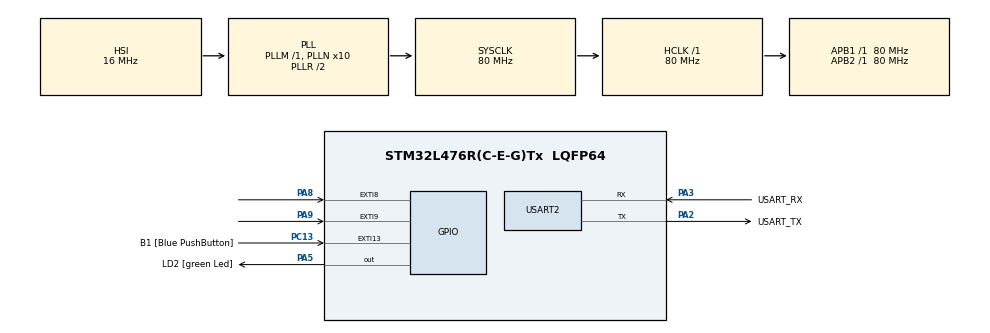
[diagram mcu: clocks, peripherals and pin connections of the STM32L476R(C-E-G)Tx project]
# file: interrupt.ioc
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Mcu.Family=STM32L4
Mcu.Name=STM32L476R(C-E-G)Tx
Mcu.Package=LQFP64
NVIC.EXTI15_10_IRQn=true\:0\:0\:false\:false\:true\:true\:true
NVIC.EXTI9_5_IRQn=true\:0\:0\:false\:false\:true\:true\:true
NVIC.FLASH_IRQn=true\:0\:0\:false\:false\:true\:true\:true
NVIC.FPU_IRQn=true\:0\:0\:false\:false\:true\:true\:false
NVIC.PVD_PVM_IRQn=true\:0\:0\:false\:false\:true\:true\:true
NVIC.PriorityGroup=NVIC_PRIORITYGROUP_4
NVIC.RCC_IRQn=true\:0\:0\:false\:false\:true\:true\:false
NVIC.USART2_IRQn=true\:0\:0\:false\:false\:true\:true\:true
PA13\ (JTMS-SWDIO).GPIO_Label=TMS
PA13\ (JTMS-SWDIO).Mode=Serial_Wire
PA13\ (JTMS-SWDIO).Signal=SYS_JTMS-SWDIO
PA14\ (JTCK-SWCLK).GPIO_Label=TCK
PA14\ (JTCK-SWCLK).Mode=Serial_Wire
PA14\ (JTCK-SWCLK).Signal=SYS_JTCK-SWCLK
PA2.GPIO_Label=USART_TX
PA2.GPIO_Mode=GPIO_MODE_AF_PP
PA2.GPIO_PuPd=GPIO_NOPULL
PA2.GPIO_Speed=GPIO_SPEED_FREQ_VERY_HIGH
PA2.Mode=Asynchronous
PA2.Signal=USART2_TX
PA3.GPIO_Label=USART_RX
PA3.GPIO_Mode=GPIO_MODE_AF_PP
PA3.GPIO_PuPd=GPIO_NOPULL
PA3.GPIO_Speed=GPIO_SPEED_FREQ_VERY_HIGH
PA3.Mode=Asynchronous
PA3.Signal=USART2_RX
PA5.GPIO_Label=LD2 [green Led]
PA5.GPIO_ModeDefaultOutputPP=GPIO_MODE_OUTPUT_PP
PA5.GPIO_PuPd=GPIO_NOPULL
PA5.GPIO_Speed=GPIO_SPEED_FREQ_LOW
PA5.Signal=GPIO_Output
PA8.GPIO_ModeDefaultEXTI=GPIO_MODE_IT_FALLING
PA8.GPIO_PuPd=GPIO_PULLUP
PA8.Signal=GPXTI8
PA9.GPIO_ModeDefaultEXTI=GPIO_MODE_IT_FALLING
PA9.GPIO_PuPd=GPIO_PULLUP
PA9.Signal=GPXTI9
PB3\ (JTDO-TRACESWO).GPIO_Label=SWO
PB3\ (JTDO-TRACESWO).Signal=SYS_JTDO-SWO
PC13.GPIO_Label=B1 [Blue PushButton]
PC13.GPIO_ModeDefaultEXTI=GPIO_MODE_IT_FALLING
PC13.GPIO_PuPd=GPIO_NOPULL
PC13.Signal=GPXTI13
PC14-OSC32_IN\ (PC14).Mode=LSE-External-Oscillator
PC14-OSC32_IN\ (PC14).Signal=RCC_OSC32_IN
PC15-OSC32_OUT\ (PC15).Mode=LSE-External-Oscillator
PC15-OSC32_OUT\ (PC15).Signal=RCC_OSC32_OUT
PH0-OSC_IN\ (PH0).Signal=RCC_OSC_IN
PH1-OSC_OUT\ (PH1).Signal=RCC_OSC_OUT
ProjectManager.HeapSize=0x200
ProjectManager.StackSize=0x400
ProjectManager.TargetToolchain=STM32CubeIDE
RCC.ADCFreq_Value=64000000
RCC.AHBFreq_Value=80000000
RCC.APB1Freq_Value=80000000
RCC.APB1TimFreq_Value=80000000
RCC.APB2Freq_Value=80000000
RCC.APB2TimFreq_Value=80000000
RCC.CortexFreq_Value=80000000
RCC.HCLKFreq_Value=80000000
RCC.HSE_VALUE=8000000
RCC.HSI_VALUE=16000000
RCC.MSI_VALUE=4000000
RCC.PLLN=10
RCC.PLLSourceVirtual=RCC_PLLSOURCE_HSI
RCC.PREFETCH_ENABLE=1
RCC.SYSCLKFreq_VALUE=80000000
RCC.SYSCLKSource=RCC_SYSCLKSOURCE_PLLCLK
RCC.USBFreq_Value=64000000
RCC.VCOOutputFreq_Value=160000000
USART2.VirtualMode-Asynchronous=VM_ASYNC
board=NUCLEO-L476RG

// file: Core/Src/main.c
/* USER CODE BEGIN Header */
/**
  ******************************************************************************
  * @file           : main.c
  * @brief          : Main program body
  ******************************************************************************
  * @attention
  *
  * Copyright (c) 2022 STMicroelectronics.
  * All rights reserved.
  *
  * This software is licensed under terms that can be found in the LICENSE file
  * in the root directory of this software component.
  * If no LICENSE file comes with this software, it is provided AS-IS.
  *
  ******************************************************************************
  */
/* USER CODE END Header */
#include "main.h"
#include "usart.h"
#include "gpio.h"

void SystemClock_Config(void);

int main(void)
{

  /* MCU Configuration--------------------------------------------------------*/

  /* Reset of all peripherals, Initializes the Flash interface and the Systick. */
  HAL_Init();

  /* Configure the system clock */
  SystemClock_Config();

  /* Initialize all configured peripherals */
  MX_GPIO_Init();
  MX_USART2_UART_Init();

  /* Infinite loop */
  while (1)
  {
	  /* USER CODE BEGIN 4 */
	  void HAL_GPIO_EXTI_Callback(uint16_t GPIO_Pin)
	  {
	  	switch(GPIO_Pin)
	  		{
	  		case B1_Pin: // GPIO_PIN_13 is the Blue Button
	  			HAL_GPIO_TogglePin(LD2_GPIO_Port, LD2_Pin); // Green LED - GPIOA, GPIO_PIN_5
	  			break;
	  		case GPIO_PIN_8:
	  			HAL_GPIO_TogglePin(LD2_GPIO_Port, LD2_Pin); // Green LED - GPIOA, GPIO_PIN_5
	  			break;
	  		case GPIO_PIN_9:
	  			HAL_GPIO_TogglePin(LD2_GPIO_Port, LD2_Pin); // Green LED - GPIOA, GPIO_PIN_5
	  			break;
	  		}
	  }
	  /* USER CODE END 4 */

  }
}

void SystemClock_Config(void)
{
  RCC_OscInitTypeDef RCC_OscInitStruct = {0};
  RCC_ClkInitTypeDef RCC_ClkInitStruct = {0};

  /** Configure the main internal regulator output voltage
  */
  if (HAL_PWREx_ControlVoltageScaling(PWR_REGULATOR_VOLTAGE_SCALE1) != HAL_OK)
  {
    Error_Handler();
  }
  /** Initializes the RCC Oscillators according to the specified parameters
  * in the RCC_OscInitTypeDef structure.
  */
  RCC_OscInitStruct.OscillatorType = RCC_OSCILLATORTYPE_HSI;
  RCC_OscInitStruct.HSIState = RCC_HSI_ON;
  RCC_OscInitStruct.HSICalibrationValue = RCC_HSICALIBRATION_DEFAULT;
  RCC_OscInitStruct.PLL.PLLState = RCC_PLL_ON;
  RCC_OscInitStruct.PLL.PLLSource = RCC_PLLSOURCE_HSI;
  RCC_OscInitStruct.PLL.PLLM = 1;
  RCC_OscInitStruct.PLL.PLLN = 10;
  RCC_OscInitStruct.PLL.PLLP = RCC_PLLP_DIV7;
  RCC_OscInitStruct.PLL.PLLQ = RCC_PLLQ_DIV2;
  RCC_OscInitStruct.PLL.PLLR = RCC_PLLR_DIV2;
  if (HAL_RCC_OscConfig(&RCC_OscInitStruct) != HAL_OK)
  {
    Error_Handler();
  }
  /** Initializes the CPU, AHB and APB buses clocks
  */
  RCC_ClkInitStruct.ClockType = RCC_CLOCKTYPE_HCLK|RCC_CLOCKTYPE_SYSCLK
                              |RCC_CLOCKTYPE_PCLK1|RCC_CLOCKTYPE_PCLK2;
  RCC_ClkInitStruct.SYSCLKSource = RCC_SYSCLKSOURCE_PLLCLK;
  RCC_ClkInitStruct.AHBCLKDivider = RCC_SYSCLK_DIV1;
  RCC_ClkInitStruct.APB1CLKDivider = RCC_HCLK_DIV1;
  RCC_ClkInitStruct.APB2CLKDivider = RCC_HCLK_DIV1;

  if (HAL_RCC_ClockConfig(&RCC_ClkInitStruct, FLASH_LATENCY_4) != HAL_OK)
  {
    Error_Handler();
  }
}

/* USER CODE BEGIN 4 */
	  void HAL_GPIO_EXTI_Callback(uint16_t GPIO_Pin)
	  {
	  	switch(GPIO_Pin)
	  		{
	  		case B1_Pin: // GPIO_PIN_13 is the Blue Button
	  			HAL_GPIO_TogglePin(LD2_GPIO_Port, LD2_Pin); // Green LED - GPIOA, GPIO_PIN_5
	  			break;
	  		case GPIO_PIN_8:
	  			HAL_GPIO_TogglePin(LD2_GPIO_Port, LD2_Pin); // Green LED - GPIOA, GPIO_PIN_5
	  			break;
	  		case GPIO_PIN_9:
	  			HAL_GPIO_TogglePin(LD2_GPIO_Port, LD2_Pin); // Green LED - GPIOA, GPIO_PIN_5
	  			break;
	  		}
	  }
/* USER CODE END 4 */

void Error_Handler(void)
{
  __disable_irq();
  while (1)
  {
  }
}
